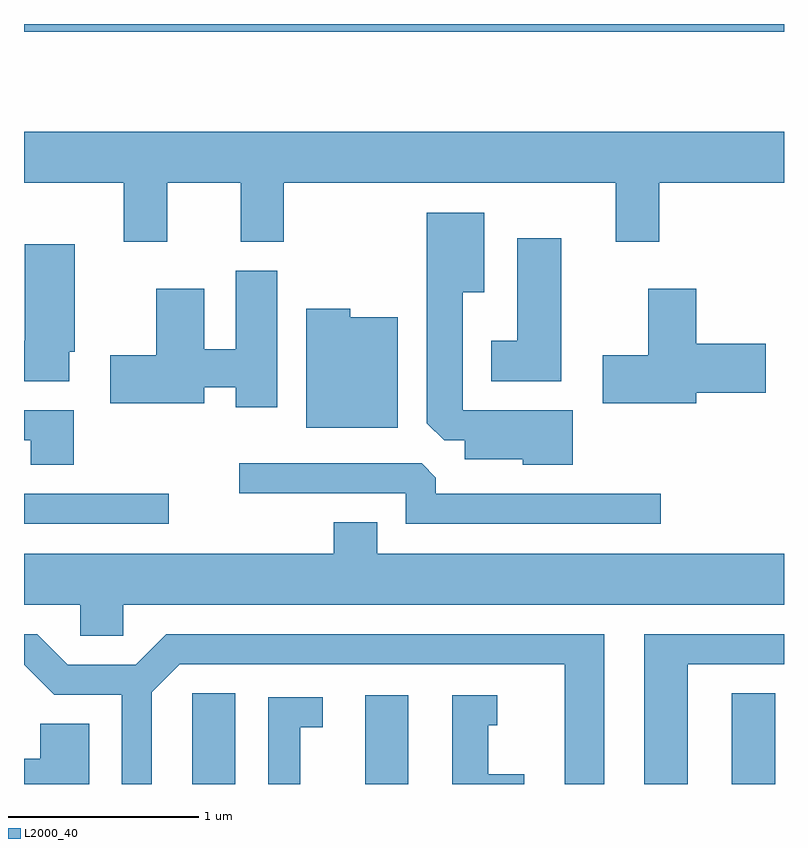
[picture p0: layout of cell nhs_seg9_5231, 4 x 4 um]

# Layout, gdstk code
import gdstk
lib = gdstk.Library(unit=1e-6, precision=1e-09)
def R(c, l, rs):  # rectangles x0, y0, x1, y1
    for r in rs: c.add(gdstk.rectangle(r[:2], r[2:], *l))
def P(c, l, *ps):  # polygons
    for p in ps: c.add(gdstk.Polygon(p, *l))
L2000_40 = (2000, 40)

nhs_seg9_5231 = lib.new_cell('nhs_seg9_5231')
R(nhs_seg9_5231, L2000_40, [(340.496,1986.432,340.724,1986.909), (341.406,1986.432,341.634,1986.899), (343.336,1986.432,343.564,1986.909), (339.611,1987.801,340.373,1987.959), (339.611,1990.391,343.611,1990.432)])
P(nhs_seg9_5231, L2000_40, [(340.364,1989.596),(340.751,1989.596),(340.751,1989.286),(340.979,1989.286),(340.979,1989.596),(342.726,1989.596),(342.726,1989.286),(342.954,1989.286),(342.954,1989.596),(343.611,1989.596),(343.611,1989.864),(339.611,1989.864),(339.611,1989.596),(340.136,1989.596),(340.136,1989.286),(340.364,1989.286)],
  [(342.499,1988.399),(341.919,1988.399),(341.919,1989.021),(342.034,1989.021),(342.034,1989.439),(341.731,1989.439),(341.731,1988.332),(341.822,1988.241),(341.931,1988.241),(341.931,1988.141),(342.236,1988.141),(342.236,1988.111),(342.499,1988.111)],
  [(342.439,1989.304),(342.206,1989.304),(342.206,1988.764),(342.071,1988.764),(342.071,1988.551),(342.439,1988.551)],
  [(339.849,1988.706),(339.879,1988.706),(339.879,1989.274),(339.616,1989.274),(339.616,1988.764),(339.611,1988.764),(339.611,1988.551),(339.849,1988.551)],
  [(340.944,1989.134),(340.726,1989.134),(340.726,1988.719),(340.559,1988.719),(340.559,1989.039),(340.306,1989.039),(340.306,1988.689),(340.066,1988.689),(340.066,1988.436),(340.559,1988.436),(340.559,1988.521),(340.726,1988.521),(340.726,1988.416),(340.944,1988.416)],
  [(343.149,1988.491),(343.514,1988.491),(343.514,1988.749),(343.149,1988.749),(343.149,1989.039),(342.896,1989.039),(342.896,1988.689),(342.656,1988.689),(342.656,1988.436),(343.149,1988.436)],
  [(341.579,1988.889),(341.329,1988.889),(341.329,1988.934),(341.096,1988.934),(341.096,1988.306),(341.579,1988.306)],
  [(339.874,1988.399),(339.611,1988.399),(339.611,1988.241),(339.646,1988.241),(339.646,1988.111),(339.874,1988.111)],
  [(342.963,1987.959),(341.779,1987.959),(341.779,1988.044),(341.704,1988.119),(340.743,1988.119),(340.743,1987.961),(341.621,1987.961),(341.621,1987.801),(342.963,1987.801)],
  [(340.134,1987.376),(343.611,1987.376),(343.611,1987.644),(341.469,1987.644),(341.469,1987.809),(341.241,1987.809),(341.241,1987.644),(339.611,1987.644),(339.611,1987.376),(339.906,1987.376),(339.906,1987.211),(340.134,1987.211)],
  [(343.104,1987.061),(343.611,1987.061),(343.611,1987.219),(342.876,1987.219),(342.876,1986.432),(343.104,1986.432)],
  [(340.284,1986.914),(340.432,1987.061),(342.456,1987.061),(342.456,1986.432),(342.664,1986.432),(342.664,1987.219),(340.359,1987.219),(340.199,1987.059),(339.842,1987.059),(339.682,1987.219),(339.611,1987.219),(339.611,1987.059),(339.769,1986.901),(340.126,1986.901),(340.126,1986.432),(340.284,1986.432)],
  [(342.244,1986.484),(342.054,1986.484),(342.054,1986.741),(342.103,1986.741),(342.103,1986.899),(341.866,1986.899),(341.866,1986.432),(342.244,1986.432)],
  [(341.064,1986.731),(341.183,1986.731),(341.183,1986.889),(340.896,1986.889),(340.896,1986.432),(341.064,1986.432)],
  [(339.954,1986.749),(339.696,1986.749),(339.696,1986.564),(339.611,1986.564),(339.611,1986.432),(339.954,1986.432)])

lib.write_gds('nhs_seg9_5231.gds')
